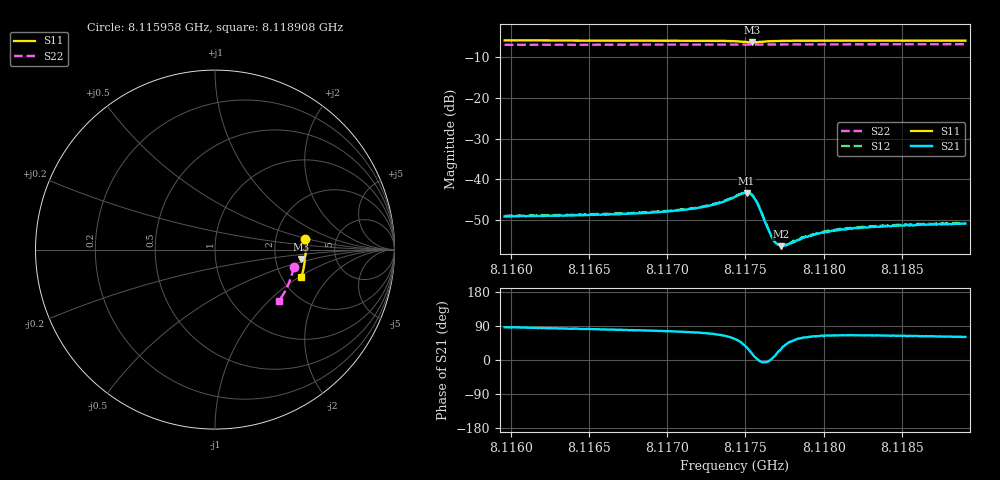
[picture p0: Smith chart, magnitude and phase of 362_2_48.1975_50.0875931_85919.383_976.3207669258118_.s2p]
#  HZ  S  RI  R  50.00
! Rohde & Schwarz Vector Network Analyzer
! Rohde-Schwarz,ZNB20-2Port,1311601062101988,3.16
! Created: UTC 3/20/2024, 11:52:14 AM
! freq[Hz]  re:S11  im:S11  re:S21  im:S21  re:S12  im:S12  re:S22  im:S22
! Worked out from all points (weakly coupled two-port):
!   401 points, 8.115958 GHz to 8.118908 GHz, reference 50 ohm
!   highest |S21| = -43.36 dB at 8.117507 GHz (marker M1); lowest = -56.5 dB at 8.117728 GHz (marker M2)
!   lowest |S11| = -6.4 dB at 8.117544 GHz (marker M3), VSWR 2.86, Z = 140 - j18.9 ohm
!   |S11| at or under -10 dB: nowhere
!   |S22| runs from -7.0 to -6.8 dB; largest |S21 - S12| = 0.00017
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8.1159577e9  0.5038 0.0613  0.000211 0.00347  0.000285 0.00354  0.4377 -0.0983
8.1164519e9  0.5062 0.0243  0.000499 0.00357  0.000555 0.00363  0.43 -0.1318
8.1169461e9  0.5056 -0.0138  0.000897 0.00384  0.000955 0.00388  0.42 -0.1646
8.1171305e9  0.5042 -0.0287  0.00121 0.00407  0.00124 0.00416  0.4155 -0.1768
8.1172485e9  0.5025 -0.0389  0.00151 0.00437  0.00162 0.00447  0.4126 -0.1845
8.1173518e9  0.4994 -0.0487  0.0022 0.00475  0.00226 0.00483  0.4096 -0.1912
8.1174329e9  0.4935 -0.0566  0.00344 0.00499  0.00352 0.00504  0.4072 -0.1966
8.1175067e9  0.4819 -0.0581  0.00564 0.00379  0.00579 0.00379  0.4047 -0.2009
8.1175436e9  0.4785 -0.0519  0.00605 0.00173  0.00622 0.00173  0.4036 -0.2029
8.1175583e9  0.4793 -0.0488  0.00571 0.000866  0.00585 0.000866  0.4033 -0.2036
8.1175804e9  0.4824 -0.0458  0.00484 2.33e-05  0.00493 -2.15e-05  0.4027 -0.2047
8.1176468e9  0.4932 -0.0481  0.00239 -0.000139  0.00241 -0.000199  0.4014 -0.209
8.1176763e9  0.4958 -0.0515  0.00182 0.000211  0.00189 0.000164  0.4007 -0.2109
8.1177058e9  0.4974 -0.055  0.00147 0.000552  0.00152 0.00052  0.3997 -0.2129
8.117728e9  0.4981 -0.0574  0.00131 0.00073  0.00137 0.000732  0.3992 -0.2144
8.1177648e9  0.4988 -0.0615  0.00117 0.00107  0.00119 0.00104  0.398 -0.2167
8.1178755e9  0.4989 -0.0721  0.000963 0.00165  0.00101 0.00166  0.3946 -0.2237
8.1179271e9  0.4984 -0.0766  0.00095 0.0018  0.000976 0.00183  0.3928 -0.2269
8.1180156e9  0.4976 -0.0842  0.000969 0.00202  0.00101 0.00206  0.3901 -0.2325
8.1181115e9  0.4962 -0.0917  0.00101 0.00218  0.00103 0.00222  0.3868 -0.2385
8.1184213e9  0.4914 -0.1153  0.00117 0.00238  0.0012 0.00242  0.3757 -0.2571
8.1189081e9  0.4814 -0.1506  0.00139 0.00249  0.00142 0.00252  0.3564 -0.2855
